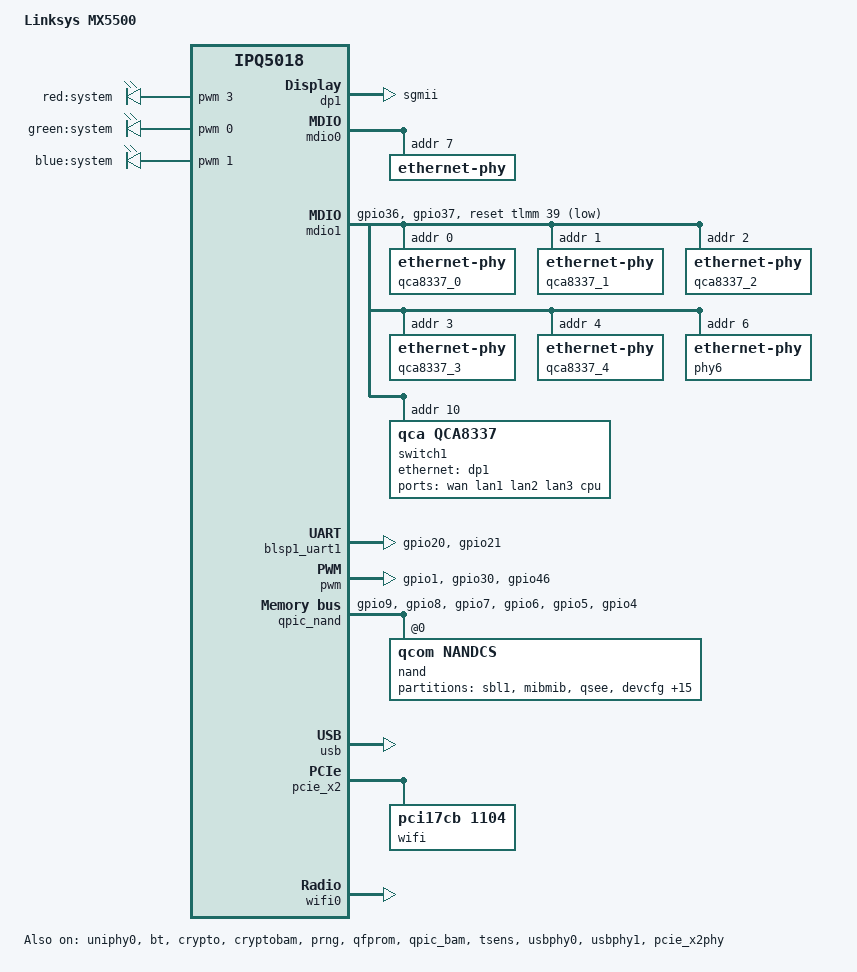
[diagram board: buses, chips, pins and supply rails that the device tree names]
/dts-v1/;

#include "ipq5018.dtsi"
/*#include "ipq5018-ess.dtsi"*/

#include <dt-bindings/gpio/gpio.h>
#include <dt-bindings/input/input.h>
#include <dt-bindings/leds/common.h>
#include <dt-bindings/phy/qcom-eth-uniphy.h>

/ {
	model = "Linksys MX5500";
	compatible = "linksys,mx5500", "qcom,ipq5018";

    aliases {
		ethernet0 = "/soc/dp1";
		ethernet1 = "/soc/dp2";
		led-boot = &led_system_blue;
		led-failsafe = &led_system_red;
		led-running = &led_system_blue;
		led-upgrade = &led_system_red;
		serial0 = &blsp1_uart1;
	};

    chosen {
        bootargs-append = "coherent_pool=2M swiotlb=noforce mitigations=off root=/dev/ubiblock0_0";
		stdout-path = "serial0:115200n8";
	};

/*	keys {
		compatible = "gpio-keys";
		pinctrl-0 = <&button_pins>;
		pinctrl-names = "default";

		wps-button {
			label = "wps";
			gpios = <&tlmm 27 GPIO_ACTIVE_LOW>;
			linux,code = <KEY_WPS_BUTTON>;
		};

		reset-button {
			label = "reset";
			gpios = <&tlmm 28 GPIO_ACTIVE_LOW>;
			linux,code = <KEY_RESTART>;
		};
	};*/

	leds {
		compatible = "pwm-leds";

		led_system_red: red {
			label = "red:system";
			pwms = <&pwm 3 1250000>;
			max-brightness = <255>;
		};

		green {
			label = "green:system";
			pwms = <&pwm 0 1250000>;
			max-brightness = <255>;
		};

		led_system_blue: blue {
			label = "blue:system";
			pwms = <&pwm 1 1250000>;
			max-brightness = <255>;
		};
	};

	reserved-memory {
		q6_region: wcnss@4b000000 {
			no-map;
			reg = <0x0 0x4b000000 0x0 0x01800000>;
		};

		m3_dump@4c800000 {
			no-map;
			reg = <0x0 0x4c800000 0x0 0x100000>;
		};

		q6_etr_region:q6_etr_dump@4c900000 {
			no-map;
			reg = <0x0 0x4c900000 0x0 0x100000>;
		};

		q6_caldb_region:q6_caldb_region@4cd00000 {
			no-map;
			reg = <0x0 0x4ca00000 0x0 0x200000>;
		};
		
		mhi_region1: dma_pool1@4ea00000 {
			compatible = "shared-dma-pool";
			no-map;
			reg = <0x0 0x4ea00000 0x0 0x01000000>;
		};

	};


};


&soc {

		nss-common {
			compatible = "qcom,nss-common";
			reg = <0x01868010 0x01>;
			reg-names = "nss-misc-reset";
			memory-region = <&nss_region>;
		};

		nss0: nss@40000000 {
			compatible = "qcom,nss";
			interrupts = <0 402 0x1>, <0 401 0x1>, <0 400 0x1>,
				     <0 399 0x1>, <0 398 0x1>, <0 397 0x1>,
				     <0 396 0x1>, <0 395 0x1>;
			reg = <0x07a00000 0x100>, <0x0b111000 0x1000>;
			reg-names = "nphys", "qgic-phys";
			clocks = <&gcc GCC_UBI0_CFG_CLK>,
				 <&gcc GCC_UBI0_DBG_CLK>,
				 <&gcc GCC_UBI0_CORE_CLK>,
				 <&gcc GCC_UBI0_UTCM_CLK>,
				 <&gcc GCC_UBI0_AXI_CLK>,
				 <&gcc GCC_SNOC_UBI0_AXI_CLK>,
				 <&gcc GCC_UBI0_NC_AXI_CLK>;
			clock-names = "nss-cfg-clk", "nss-dbg-clk",
				      "nss-core-clk", "nss-utcm-clk",
				      "nss-axi-clk",
				      "nss-snoc-axi-clk",
				      "nss-nc-axi-clk";
			qcom,id = <0>;
			qcom,num-queue = <4>;
			qcom,num-irq = <8>;
			qcom,num-pri = <4>;
			qcom,load-addr = <0x40000000>;
			qcom,low-frequency = <850000000>;
			qcom,mid-frequency = <850000000>;
			qcom,max-frequency = <1000000000>;
			qcom,bridge-enabled;
			qcom,ipv4-enabled;
			qcom,ipv6-enabled;
			qcom,wlanredirect-enabled;
			qcom,tun6rd-enabled;
			qcom,l2tpv2-enabled;
			qcom,gre-enabled;
			qcom,gre-redir-enabled;
			qcom,gre-redir-mark-enabled;
			qcom,map-t-enabled;
			qcom,portid-enabled;
			qcom,pppoe-enabled;
			qcom,pptp-enabled;
			qcom,tunipip6-enabled;
			qcom,shaping-enabled;
			qcom,wlan-dataplane-offload-enabled;
			qcom,vlan-enabled;
			qcom,capwap-enabled;
			qcom,crypto-enabled;
			qcom,ipsec-enabled;
			qcom,qvpn-enabled;
			qcom,pvxlan-enabled;
			qcom,clmap-enabled;
			qcom,vxlan-enabled;
			qcom,match-enabled;
			qcom,mirror-enabled;
		};

		nss-dp-common {
			compatible = "qcom,nss-dp-common";
			qcom,tcsr-base = <0x01937000>;
		};

		nss_crypto: qcom,nss_crypto {
			compatible = "qcom,nss-crypto";
			#address-cells = <1>;
			#size-cells = <1>;
			qcom,max-contexts = <64>;
			qcom,max-context-size = <144>;
			ranges;
			ce5_node {
				compatible = "qcom,ce5";
				reg-names = "crypto_pbase", "bam_base";
				reg = <0x0073a000 0x6000>,
				    <0x00704000 0x20000>;
				qcom,dma-mask = <0x0c>;
				qcom,transform-enabled;
				qcom,aes128-cbc;
				qcom,aes256-cbc;
				qcom,aes128-ctr;
				qcom,aes256-ctr;
				qcom,aes128-ecb;
				qcom,aes256-ecb;
				qcom,3des-cbc;
				qcom,sha160-hash;
				qcom,sha256-hash;
				qcom,sha160-hmac;
				qcom,sha256-hmac;
				qcom,aes128-cbc-sha160-hmac;
				qcom,aes256-cbc-sha160-hmac;
				qcom,aes128-ctr-sha160-hmac;
				qcom,aes256-ctr-sha160-hmac;
				qcom,3des-cbc-sha160-hmac;
				qcom,3des-cbc-sha256-hmac;
				qcom,aes128-cbc-sha256-hmac;
				qcom,aes256-cbc-sha256-hmac;
				qcom,aes128-ctr-sha256-hmac;
				qcom,aes256-ctr-sha256-hmac;
				engine0 {
					qcom,ee = <2 3>;
				};
			};
		};

		ess-instance {
			num_devices = <0x2>;
			ess-switch@39c00000 {
				compatible = "qcom,ess-switch-ipq50xx";
				device_id = <0>;
				switch_mac_mode = <0xf>; /* mac mode for uniphy instance*/
				cmnblk_clk = "internal_96MHz"; /* cmnblk clk*/
				qcom,port_phyinfo {
					port@0 {
						port_id = <1>;
						phy_address = <7>;
					};
					port@1 {
						port_id = <2>;
						forced-speed = <1000>;
						forced-duplex = <1>;
					};
				};
				led_source@0 {
					source = <0>;
					mode = "normal";
					speed = "all";
					blink_en = "enable";
					active = "high";
				};
			};
			ess-switch1@1 {
				compatible = "qcom,ess-switch-qca83xx";
				device_id = <1>;
				switch_access_mode = "mdio";
				mdio-bus = <&mdio1>;
				reset_gpio = <0x227>;
				switch_cpu_bmp = <0x40>;  /* cpu port bitmap (Port 6 GMAC) */
				switch_lan_bmp = <0x38>;  /* lan port bitmap (Port 5..3 GMAC) */
				switch_wan_bmp = <0x04>;  /* wan port bitmap (Port 2 GMAC) */
				qca,ar8327-initvals = <
						0x00004 0x7600000   /* PAD0_MODE */
						0x00008 0x1000000   /* PAD5_MODE */
						0x0000c 0x80        /* PAD6_MODE */
						0x00010 0x2613a0    /* PORT6 FORCE MODE*/
						0x000e4 0xaa545     /* MAC_POWER_SEL */
						0x000e0 0xc74164de  /* SGMII_CTRL */
						0x0007c 0x4e        /* PORT0_STATUS */
						0x00094 0x4e        /* PORT6_STATUS */
				>;

				qcom,port_phyinfo {
					port@0 {
						port_id = <1>;
						phy_address = <0>;
					};
					port@1 {
						port_id = <2>;
						phy_address = <1>;
					};
					port@2 {
						port_id = <3>;
						phy_address = <2>;
					};
					port@3 {
						port_id = <4>;
						phy_address = <3>;
					};
					port@4 {
						port_id = <5>;
						phy_address = <3>;
					};
				};
			};
		};

		ess-uniphy@98000 {
			status = "disabled";
		};


/*		dp1 {
			device_type = "network";
			compatible = "qcom,nss-dp";
			clocks = <&gcc GCC_SNOC_GMAC0_AXI_CLK>;
			clock-names = "nss-snoc-gmac-axi-clk";

			qcom,id = <1>;
			reg = <0x39C00000 0x10000>;
			interrupts = <GIC_SPI 101 IRQ_TYPE_LEVEL_HIGH>;

			qcom,mactype = <2>;
			qcom,link-poll = <1>;
			qcom,phy-mdio-addr = <7>;
			mdio-bus = <&mdio0>;
			local-mac-address = [000000000000];
			phy-mode = "sgmii";
		}; */

		dp1: dp1 {
			device_type = "network";
			compatible = "qcom,nss-dp";
			clocks = <&gcc GCC_SNOC_GMAC1_AXI_CLK>;
			clock-names = "nss-snoc-gmac-axi-clk";
			qcom,id = <2>;
			reg = <0x39D00000 0x10000>;
			interrupts = <GIC_SPI 109 IRQ_TYPE_LEVEL_HIGH>;
			qcom,mactype = <2>;
			local-mac-address = [000000000000];
			phy-mode = "sgmii";
			qcom,rx-page-mode = <0>;
		};

	};



&uniphy0 {
	mode = <QCOM_ETH_UNIPHY_MODE_SGMII>;
	clkout-frequency = <QCOM_ETH_UNIPHY_CLKOUT_FREQ_25M>;
	clkout-drive-strength = <QCOM_ETH_UNIPHY_CLKOUT_DS_1_5V>;

	status = "okay";
};

&mdio0 {
			status = "ok";
			ethernet-phy@0 {
				reg = <7>;
			};
};

&mdio1 {
			status = "ok";
			pinctrl-0 = <&mdio1_pins>;
			pinctrl-names = "default";
			reset-gpios = <&tlmm 39 GPIO_ACTIVE_LOW>;

			qca8337_0: ethernet-phy@0 {
				reg = <0>;
			};

			qca8337_1: ethernet-phy@1 {
				reg = <1>;
			};

			qca8337_2: ethernet-phy@2 {
				reg = <2>;
			};

			qca8337_3: ethernet-phy@3 {
				reg = <3>;
			};

			qca8337_4: ethernet-phy@4 {
				reg = <4>;
			};


	phy6: ethernet-phy@6 {
		reg = <6>;
		phy-mode = "sgmii";
		qca,ar8327-initvals = <
				0x00004 0x7600000   /* PAD0_MODE */
				0x00008 0x1000000   /* PAD5_MODE */
				0x0000c 0x80        /* PAD6_MODE */
				0x00010 0x2613a0    /* PORT6 FORCE MODE*/
				0x000e4 0xaa545     /* MAC_POWER_SEL */
				0x000e0 0xc74164de  /* SGMII_CTRL */
				0x0007c 0x4e        /* PORT0_STATUS */
				0x00094 0x4e        /* PORT6_STATUS */
		>;
	};

	// QCA8337 switch
	switch1: ethernet-switch@10 {
		compatible = "qca,qca8337";
		#address-cells = <1>;
		#size-cells = <0>;

		reg = <10>;

		ports {
			#address-cells = <1>;
			#size-cells = <0>;

			
/*			port@1 {
				reg = <1>;
				label = "lan1";
				phy-handle = <&qca8337_0>;
			}; */
			
			port@2 {
				reg = <2>;
				label = "wan";
				phy-handle = <&qca8337_1>;
			};

			port@3 {
				reg = <3>;
				label = "lan1";
				phy-handle = <&qca8337_2>;
			};

			port@4 {
				reg = <4>;
				label = "lan2";
				phy-handle = <&qca8337_3>;
			};

			port@5 {
				reg = <5>;
				label = "lan3";
				phy-handle = <&qca8337_4>;
			};

			port@6 {
				reg = <6>;
				label = "cpu";
				phy-mode = "sgmii";
				ethernet = <&dp1>;
				qca,sgmii-enable-pll;

				fixed-link {
					speed = <1000>;
					full-duplex;
				};
			};
		};
	};

};



/*&gmac1 {
	phy-mode = "sgmii";
	status = "okay";

	fixed-link {
		speed = <1000>;
		full-duplex;
	};
};*/

&blsp1_uart1 {
	status = "okay";

	pinctrl-0 = <&serial_0_pins>;
	pinctrl-names = "default";
};

&bt {
	firmware-name = "qca/bt_fw_patch.mdt";
	status = "okay";
};

&crypto {
	status = "okay";
};

&cryptobam {
	status = "okay";
};

&prng {
	status = "okay";
};

&pwm {
	status = "okay";

	#pwm-cells = <2>;

	pinctrl-0 = <&pwm_pins>;
	pinctrl-names = "default";
};

&qfprom {
	status = "okay";
};

&qpic_bam {
	status = "okay";
};

&qpic_nand {
	pinctrl-0 = <&qpic_pins>;
	pinctrl-names = "default";
    status = "okay";

    nand@0 {
        compatible = "qcom,nandcs";
        reg = <0>;
        #address-cells = <1>;
        #size-cells = <1>;

        nand-ecc-strength = <4>;
        nand-ecc-step-size = <512>;
        nand-bus-width = <8>;

        partitions {
            compatible = "fixed-partitions";
			#address-cells = <1>;
			#size-cells = <1>;

			partition@0 {
				label = "sbl1";
				reg = <0x00000000 0x80000>;
				read-only;
			};

            partition@80000 {
				label = "mibmib";
				reg = <0x00080000 0x20000>;
				read-only;
			};

            partition@100000 {
				label = "qsee";
				reg = <0x00100000 0x100000>;
				read-only;
			};

            partition@200000 {
				label = "devcfg";
				reg = <0x00200000 0x40000>;
				read-only;
			};

            partition@240000 {
				label = "cdt";
				reg = <0x00240000 0x40000>;
				read-only;
			};

            partition@280000 {
				label = "appsblenv";
				reg = <0x00280000 0x20000>;
			};

            partition@300000 {
				label = "appsbl";
				reg = <0x00300000 0x140000>;
				read-only;
			};

            partition@440000 {
				compatible = "nvmem-cells";
				label = "art";
				reg = <0x00440000 0x100000>;
				#address-cells = <1>;
				#size-cells = <1>;
				read-only;
			};

            partition@540000 {
				label = "training";
				reg = <0x00540000 0x80000>;
				read-only;
			};

            partition@5c0000 {
				label = "u_env";
				reg = <0x005c0000 0x80000>;
			};

            partition@640000 {
				label = "s_env";
				reg = <0x00640000 0x40000>;
			};

            partition@680000 {
				label = "devinfo";
				reg = <0x00680000 0x40000>;
				read-only;
			};

            partition@6c0000 {
				label = "linux";
				reg = <0x006c0000 0x5200000>;
			};

            partition@ec0000 {
				label = "rootfs";
				reg = <0x0ec0000 0x4a00000>;
			};

            partition@58c0000 {
				label = "linux2";
				reg = <0x058c0000 0x5100000>;
			};

            partition@60c0000 {
				label = "alt_rootfs";
				reg = <0x060c0000 0x4900000>;
			};

            partition@a9c0000 {
        		    	label = "nvram";
				reg = <0x0a9c0000 0x100000>;
			};

            partition@aac0000 {
				label = "sysdiag";
				reg = <0x0aac0000 0x200000>;
				read-only;
			};

            partition@acc0000 {
				label = "ddwrt";
				reg = <0x0acc0000 0x4400000>;
			};
        };
    };
};

&tlmm {
/*	button_pins: button-state {
        pins = "gpio27", "gpio28";
        function = "gpio";
        drive-strength = <8>;
        bias-pull-up;
	};*/

	mdio1_pins: mdio-state {
		mdc-pins {
			pins = "gpio36";
			function = "mdc";
			drive-strength = <8>;
			bias-pull-up;
		};

		mdio-pins {
			pins = "gpio37";
			function = "mdio";
			drive-strength = <8>;
			bias-pull-up;
		};
	};

	pwm_pins: pwm-state {
		mux_1 {
			pins = "gpio1";
			function = "_";
			drive-strength = <8>;
		};

		mux_2 {
			pins = "gpio30";
			function = "pwm3";
			drive-strength = <8>;
		};

		mux_3 {
			pins = "gpio46";
			function = "pwm0";
			drive-strength = <8>;
		};
	};

	qpic_pins: qpic-state {
		pins = "gpio9", "gpio8", "gpio7", "gpio6", "gpio5", "gpio4";
		function = "qpic";
		drive-strength = <8>;
		bias-disable;
	};

	serial_0_pins: uart0-state {
		pins = "gpio20", "gpio21";
		function = "blsp0_uart0";
		bias-disable;
	};
};

&tsens {
	status = "okay";
};

&usb {
	status = "okay";
};

&usbphy0 {
	status = "okay";
};

&usbphy1 {
	status = "okay";
};

&pcie_x2phy {
	status = "okay";
};

&pcie_x2 {
	status = "okay";

	perst-gpios = <&tlmm 15 GPIO_ACTIVE_LOW>;

	bridge@0,0 {
		reg = <0x00000000 0 0 0 0>;
		#address-cells = <3>;
		#size-cells = <2>;
		ranges;

		wifi@1,0 {
			status = "okay";

			/* QCN9074: ath11k lacks DT compatible for PCI cards */
			compatible = "pci17cb,1104";
			reg = <0x00010000 0 0 0 0>;

			qcom,ath11k-calibration-variant = "Linksys-MX5500";
		};
	};
};

/*&q6v5_wcss {
	status = "okay";

	memory-region = <&q6_mem_regions>;
	firmware-name = "ath11k/IPQ5018/hw1.0/q6_fw.mdt",
					"ath11k/IPQ5018/hw1.0/m3_fw.mdt";
	
	// IPQ5018
	q6_wcss_pd1: pd-1 {
		compatible = "qcom,ipq5018-wcss-ahb-mpd";
		firmware-name = "ath11k/IPQ5018/hw1.0/q6_fw.mdt";
		qca,extended-intc;

		interrupts-extended =
			<&wcss_smp2p_in 8 0>,
			<&wcss_smp2p_in 9 0>,
			<&wcss_smp2p_in 12 0>,
			<&wcss_smp2p_in 11 0>;
		interrupt-names =
			"fatal",
			"ready",
			"spawn-ack",
			"stop-ack";

		qcom,smem-states =
			<&wcss_smp2p_out 8>,
			<&wcss_smp2p_out 9>,
			<&wcss_smp2p_out 10>;
		qcom,smem-state-names =
			"shutdown",
			"stop",
			"spawn";
		status = "okay";
		qca,asid = <1>;
		qca,auto-restart;
		qca,int_radio;
	};
};
*/
&wifi0 {
	// IPQ5018
/*	qcom,rproc = <&q6_wcss_pd1>; */
	qcom,rproc = <&q6v5_wcss>;

	qcom,ath11k-calibration-variant = "Linksys-MX5500";
	qcom,ath11k-fw-memory-mode = <1>;
	qcom,bdf-addr = <0x4ba00000>;
	qcom,caldb-addr = <0x4ca00000>;
	qcom,caldb-size = <0x200000>;
	qcom,m3-dump-addr = <0x4c800000>;

	status = "okay";
};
